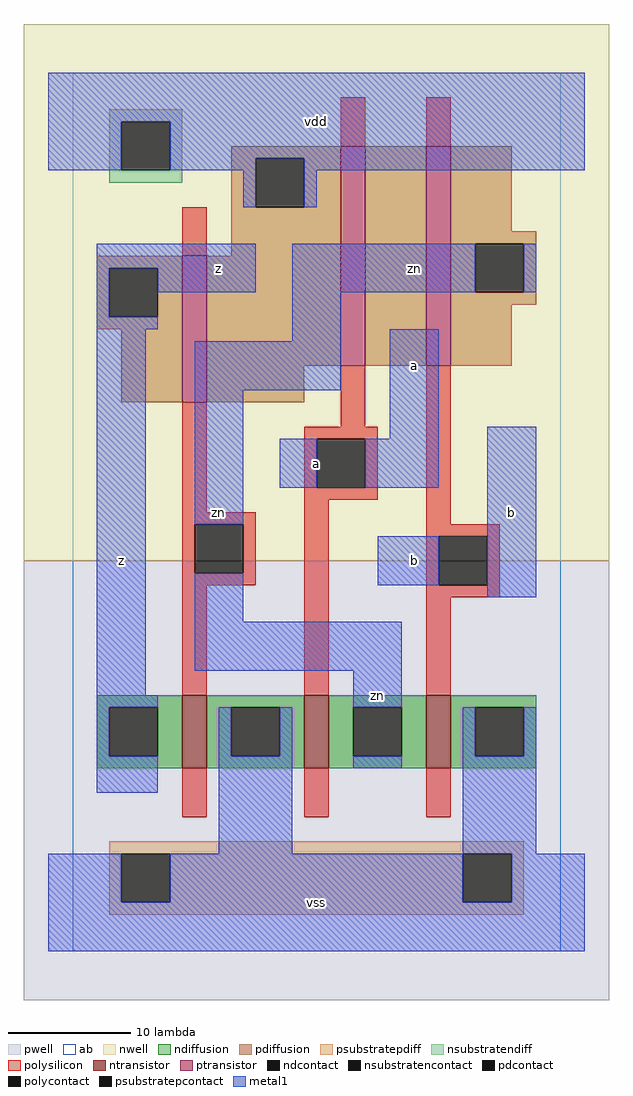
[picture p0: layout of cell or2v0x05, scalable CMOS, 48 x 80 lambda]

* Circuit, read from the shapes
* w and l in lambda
.subckt or2v0x05 a b vdd vss z zn
M1 vss zn z vss nfet w=6 l=2
M2 zn a vss vss nfet w=6 l=2
M3 vss b zn vss nfet w=6 l=2
M4 vdd zn z vdd pfet w=12 l=2
M5 n1 a vdd vdd pfet w=18 l=2
M6 zn b n1 vdd pfet w=18 l=2
.ends

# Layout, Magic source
magic
tech scmos
<< ab >>
rect 0 0 40 72
<< pwell >>
rect -4 -4 44 32
<< nwell >>
rect -4 32 44 76
<< polysilicon >>
rect 22 66 24 70
rect 29 66 31 70
rect 9 57 11 61
rect 9 36 11 45
rect 22 43 24 48
rect 19 42 25 43
rect 19 38 20 42
rect 24 38 25 42
rect 19 37 25 38
rect 9 35 15 36
rect 9 31 10 35
rect 14 31 15 35
rect 9 30 15 31
rect 9 21 11 30
rect 19 21 21 37
rect 29 35 31 48
rect 29 34 35 35
rect 29 30 30 34
rect 34 30 35 34
rect 29 29 35 30
rect 29 21 31 29
rect 9 11 11 15
rect 19 11 21 15
rect 29 11 31 15
<< ndiffusion >>
rect 2 20 9 21
rect 2 16 3 20
rect 7 16 9 20
rect 2 15 9 16
rect 11 20 19 21
rect 11 16 13 20
rect 17 16 19 20
rect 11 15 19 16
rect 21 20 29 21
rect 21 16 23 20
rect 27 16 29 20
rect 21 15 29 16
rect 31 20 38 21
rect 31 16 33 20
rect 37 16 38 20
rect 31 15 38 16
<< pdiffusion >>
rect 13 65 22 66
rect 13 61 15 65
rect 19 61 22 65
rect 13 57 22 61
rect 2 56 9 57
rect 2 52 3 56
rect 7 52 9 56
rect 2 51 9 52
rect 4 45 9 51
rect 11 48 22 57
rect 24 48 29 66
rect 31 59 36 66
rect 31 58 38 59
rect 31 54 33 58
rect 37 54 38 58
rect 31 53 38 54
rect 31 48 36 53
rect 11 45 19 48
<< metal1 >>
rect -2 68 42 72
rect -2 64 4 68
rect 8 65 42 68
rect 8 64 15 65
rect 14 61 15 64
rect 19 64 42 65
rect 19 61 20 64
rect 2 56 15 58
rect 2 52 3 56
rect 7 54 15 56
rect 18 54 33 58
rect 37 54 38 58
rect 2 51 7 52
rect 2 21 6 51
rect 18 50 22 54
rect 10 46 22 50
rect 10 35 14 46
rect 26 42 30 51
rect 17 38 20 42
rect 24 38 30 42
rect 10 27 14 31
rect 25 30 30 34
rect 34 29 38 43
rect 10 23 27 27
rect 2 20 7 21
rect 23 20 27 23
rect 2 16 3 20
rect 2 13 7 16
rect 12 16 13 20
rect 17 16 18 20
rect 12 8 18 16
rect 23 15 27 16
rect 32 16 33 20
rect 37 16 38 20
rect 32 8 38 16
rect -2 4 4 8
rect 8 4 32 8
rect 36 4 42 8
rect -2 0 42 4
<< ntransistor >>
rect 9 15 11 21
rect 19 15 21 21
rect 29 15 31 21
<< ptransistor >>
rect 9 45 11 57
rect 22 48 24 66
rect 29 48 31 66
<< polycontact >>
rect 20 38 24 42
rect 10 31 14 35
rect 30 30 34 34
<< ndcontact >>
rect 3 16 7 20
rect 13 16 17 20
rect 23 16 27 20
rect 33 16 37 20
<< pdcontact >>
rect 15 61 19 65
rect 3 52 7 56
rect 33 54 37 58
<< psubstratepcontact >>
rect 4 4 8 8
rect 32 4 36 8
<< nsubstratencontact >>
rect 4 64 8 68
<< psubstratepdiff >>
rect 3 8 37 9
rect 3 4 4 8
rect 8 4 32 8
rect 36 4 37 8
rect 3 3 37 4
<< nsubstratendiff >>
rect 3 68 9 69
rect 3 64 4 68
rect 8 64 9 68
rect 3 63 9 64
<< labels >>
rlabel metal1 4 32 4 32 6 z
rlabel metal1 12 36 12 36 6 zn
rlabel metal1 12 56 12 56 6 z
rlabel metal1 20 4 20 4 6 vss
rlabel metal1 25 21 25 21 6 zn
rlabel metal1 28 32 28 32 6 b
rlabel metal1 20 40 20 40 6 a
rlabel metal1 28 48 28 48 6 a
rlabel metal1 20 68 20 68 6 vdd
rlabel metal1 36 36 36 36 6 b
rlabel metal1 28 56 28 56 6 zn
<< end >>
